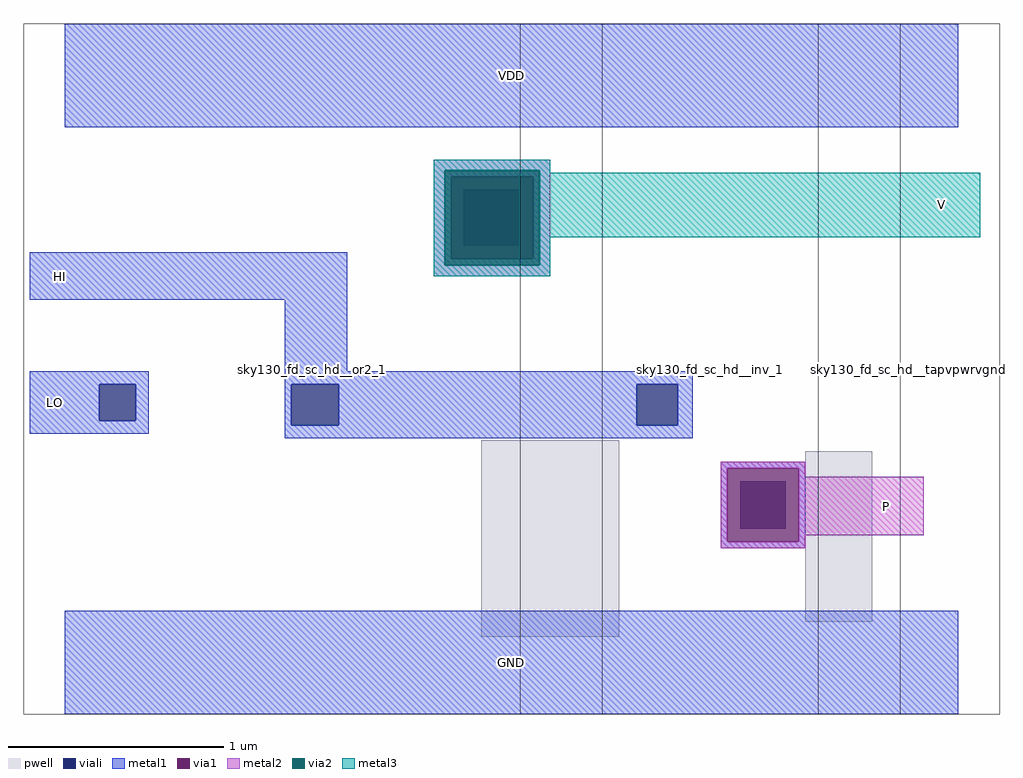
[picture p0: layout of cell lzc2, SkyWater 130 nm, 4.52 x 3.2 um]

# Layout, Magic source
magic
tech sky130A
<< pwell >>
rect 193 -588 257 -497
rect 343 -581 374 -502
<< viali >>
rect 185 -407 211 -381
rect 16 -488 33 -471
rect 105 -490 127 -471
rect 265 -490 284 -471
rect 313 -538 334 -516
<< metal1 >>
rect 0 -352 414 -304
rect 176 -375 220 -372
rect -16 -432 131 -410
rect 176 -413 179 -375
rect 217 -413 220 -375
rect 176 -416 220 -413
rect 102 -465 131 -432
rect -16 -471 39 -465
rect -16 -488 16 -471
rect 33 -488 39 -471
rect -16 -494 39 -488
rect 102 -471 291 -465
rect 102 -490 105 -471
rect 127 -490 265 -471
rect 284 -490 291 -471
rect 102 -496 291 -490
rect 304 -510 343 -507
rect 304 -544 307 -510
rect 340 -544 343 -510
rect 304 -547 343 -544
rect 0 -624 414 -576
<< via1 >>
rect 179 -381 217 -375
rect 179 -407 185 -381
rect 185 -407 211 -381
rect 211 -407 217 -381
rect 179 -413 217 -407
rect 307 -516 340 -510
rect 307 -538 313 -516
rect 313 -538 334 -516
rect 334 -538 340 -516
rect 307 -544 340 -538
<< metal2 >>
rect 171 -372 225 -367
rect 171 -416 176 -372
rect 220 -416 225 -372
rect 171 -421 225 -416
rect 304 -510 343 -507
rect 304 -544 307 -510
rect 340 -514 343 -510
rect 340 -541 398 -514
rect 340 -544 343 -541
rect 304 -547 343 -544
<< via2 >>
rect 176 -375 220 -372
rect 176 -413 179 -375
rect 179 -413 217 -375
rect 217 -413 220 -375
rect 176 -416 220 -413
<< metal3 >>
rect 171 -372 225 -367
rect 171 -416 176 -372
rect 220 -373 225 -372
rect 220 -403 424 -373
rect 220 -416 225 -403
rect 171 -421 225 -416
use sky130_fd_sc_hd__tapvpwrvgnd_1  sky130_fd_sc_hd__tapvpwrvgnd_1_0 $PDKPATH/libs.ref/sky130_fd_sc_hd/mag
transform 1 0 368 0 1 -600
box -19 -24 65 296
use sky130_fd_sc_hd__or2_1  x1 $PDKPATH/libs.ref/sky130_fd_sc_hd/mag
transform 1 0 0 0 1 -600
box -19 -24 249 296
use sky130_fd_sc_hd__inv_1  x2 $PDKPATH/libs.ref/sky130_fd_sc_hd/mag
transform 1 0 230 0 1 -600
box -19 -24 157 296
<< labels >>
rlabel metal1 0 -624 414 -576 1 GND
port 6 n ground output
rlabel metal1 0 -352 414 -304 1 VDD
port 7 n power input
rlabel metal1 -14 -494 5 -465 1 LO
port 10 n signal input
rlabel metal1 -14 -432 10 -410 1 HI
port 11 n signal input
rlabel metal2 367 -541 394 -514 1 P
port 12 n signal output
rlabel metal3 391 -403 421 -373 1 V
port 13 n signal output
<< end >>
